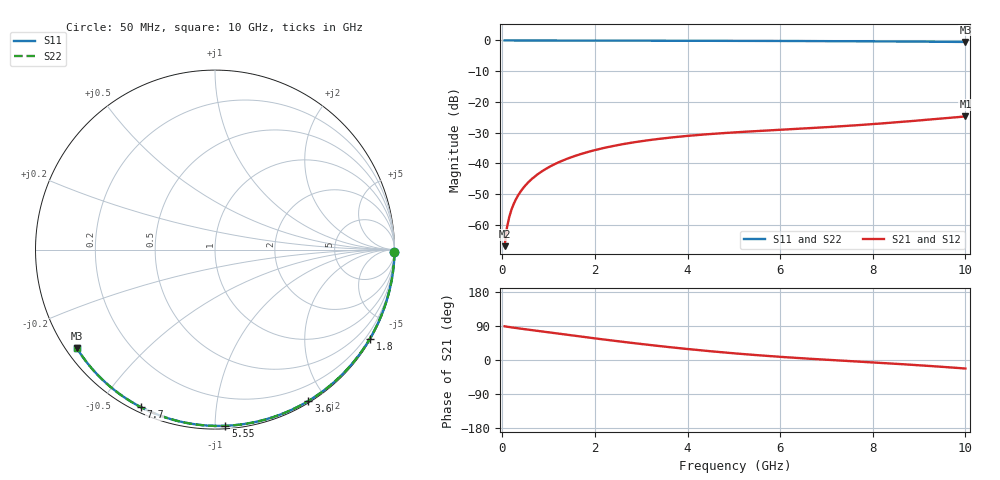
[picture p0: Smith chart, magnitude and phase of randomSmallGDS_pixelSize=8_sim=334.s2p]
! freq	dB(S11)	phase(S11)	dB(S12)	phase(S12)
!  dB(S21)	phase(S21)	dB(S22)	phase(S22)
!S-par simulation data
#  GHz  S  DB  R 50
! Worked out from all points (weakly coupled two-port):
!   200 points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, 50 MHz to 10 GHz, reference 50 ohm
!   highest |S21| = -24.77 dB at 10 GHz (marker M1); lowest = -67.0 dB at 50 MHz (marker M2)
!   lowest |S11| = -0.5 dB at 10 GHz (marker M3), VSWR 35.65, Z = 1.55 - j16 ohm
!   |S11| at or under -10 dB: nowhere
!   |S22| runs from -0.5 to 0.0 dB; largest |S21 - S12| = 0
!   S11 on the Smith chart (normalised r, x): 50 MHz: open; 1.8 GHz: 0.03, -3.74; 3.6 GHz: 0.02, -1.79; 5.55 GHz: 0.02, -1.06; 7.7 GHz: 0.02, -0.63; 10 GHz: 0.03, -0.32
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0.05  -0.00 -0.8  -67.04 88.9  -67.04 88.9  -0.00 -0.8
0.1  -0.00 -1.7  -61.04 87.9  -61.04 87.9  -0.00 -1.7
0.15  -0.00 -2.5  -57.54 86.9  -57.54 86.9  -0.00 -2.5
0.2  -0.00 -3.4  -55.07 86.0  -55.07 86.0  -0.00 -3.4
0.25  -0.00 -4.2  -53.15 85.2  -53.15 85.2  -0.00 -4.2
0.35  -0.00 -5.9  -50.27 83.5  -50.27 83.5  -0.00 -5.9
0.5  -0.01 -8.4  -47.22 81.1  -47.22 81.1  -0.01 -8.4
0.7  -0.01 -11.8  -44.35 77.8  -44.35 77.8  -0.01 -11.8
1  -0.02 -16.8  -41.34 73.0  -41.34 73.0  -0.02 -16.8
1.35  -0.03 -22.6  -38.85 67.3  -38.85 67.3  -0.03 -22.6
1.75  -0.04 -29.1  -36.77 61.0  -36.77 61.0  -0.04 -29.1
1.8  -0.04 -29.9  -36.55 60.2  -36.55 60.2  -0.04 -29.9
2.5  -0.05 -41.2  -34.09 49.5  -34.09 49.5  -0.05 -41.2
3.4  -0.08 -55.2  -32.04 36.7  -32.04 36.7  -0.08 -55.2
3.6  -0.08 -58.3  -31.70 34.1  -31.70 34.1  -0.08 -58.3
4.3  -0.10 -68.8  -30.72 25.4  -30.72 25.4  -0.10 -68.8
5.05  -0.12 -79.6  -29.93 17.2  -29.93 17.2  -0.12 -79.6
5.55  -0.14 -86.7  -29.48 12.3  -29.48 12.3  -0.14 -86.7
6.7  -0.20 -102.3  -28.53 2.8  -28.53 2.8  -0.20 -102.3
7.7  -0.27 -115.3  -27.58 -4.3  -27.58 -4.3  -0.27 -115.3
8.35  -0.32 -123.6  -26.86 -8.9  -26.86 -8.9  -0.32 -123.6
10  -0.49 -144.5  -24.77 -22.4  -24.77 -22.4  -0.49 -144.5
